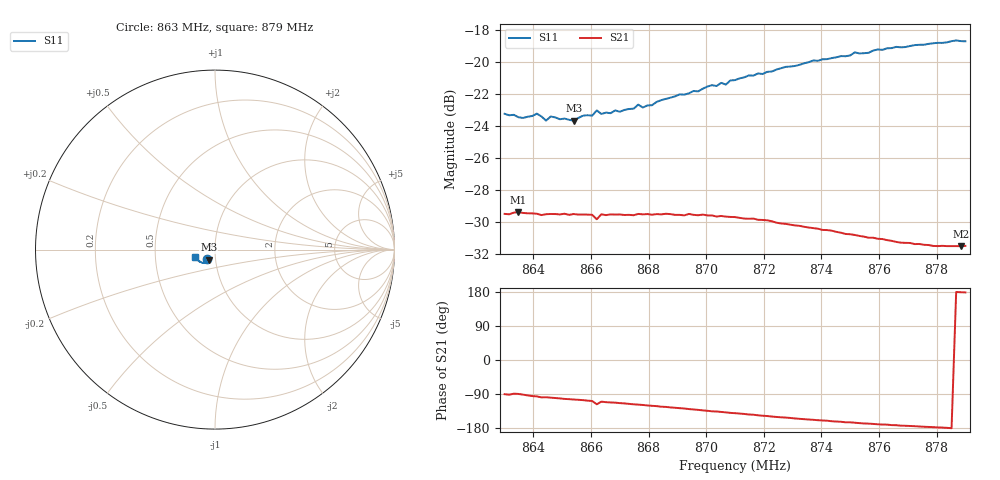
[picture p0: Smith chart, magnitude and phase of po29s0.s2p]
# HZ S RI R 50
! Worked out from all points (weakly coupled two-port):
!   101 points, 863 MHz to 879 MHz, reference 50 ohm
!   highest |S21| = -29.37 dB at 863.48 MHz (marker M1); lowest = -31.5 dB at 878.84 MHz (marker M2)
!   lowest |S11| = -23.7 dB at 865.4 MHz (marker M3), VSWR 1.14, Z = 46.4 - j5.2 ohm
!   |S11| at or under -10 dB: start of sweep to end of sweep
!   S12 and S22 are empty: the file has one direction only
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8.63e8  -0.0421 -0.0547  -0.0001 -0.0336  0 0  0 0
8.6348e8  -0.0378 -0.0558  0.000262 -0.034  0 0  0 0
8.6412e8  -0.0409 -0.0557  -0.00357 -0.0334  0 0  0 0
8.6444e8  -0.0375 -0.054  -0.00481 -0.0331  0 0  0 0
8.646e8  -0.0386 -0.0556  -0.00546 -0.0331  0 0  0 0
8.654e8  -0.0346 -0.0558  -0.00823 -0.0325  0 0  0 0
8.6572e8  -0.0355 -0.0581  -0.00914 -0.0321  0 0  0 0
8.6604e8  -0.0346 -0.0587  -0.0104 -0.0317  0 0  0 0
8.662e8  -0.0387 -0.0592  -0.0146 -0.0288  0 0  0 0
8.6636e8  -0.0354 -0.0592  -0.0114 -0.0315  0 0  0 0
8.67e8  -0.0346 -0.0609  -0.0135 -0.0306  0 0  0 0
8.6748e8  -0.0341 -0.063  -0.0151 -0.0296  0 0  0 0
8.6764e8  -0.0357 -0.0646  -0.0156 -0.0297  0 0  0 0
8.678e8  -0.0385 -0.0611  -0.016 -0.0294  0 0  0 0
8.6812e8  -0.0362 -0.0639  -0.0171 -0.0286  0 0  0 0
8.6844e8  -0.0374 -0.0664  -0.0184 -0.028  0 0  0 0
8.7068e8  -0.0451 -0.0723  -0.0245 -0.0219  0 0  0 0
8.71e8  -0.0481 -0.0737  -0.0252 -0.0209  0 0  0 0
8.7372e8  -0.0692 -0.0741  -0.0281 -0.0114  0 0  0 0
8.7644e8  -0.0919 -0.0619  -0.0274 -0.00395  0 0  0 0
8.7884e8  -0.1089 -0.0414  -0.0266 0.000539  0 0  0 0
8.79e8  -0.1096 -0.0391  -0.0266 0.00077  0 0  0 0
